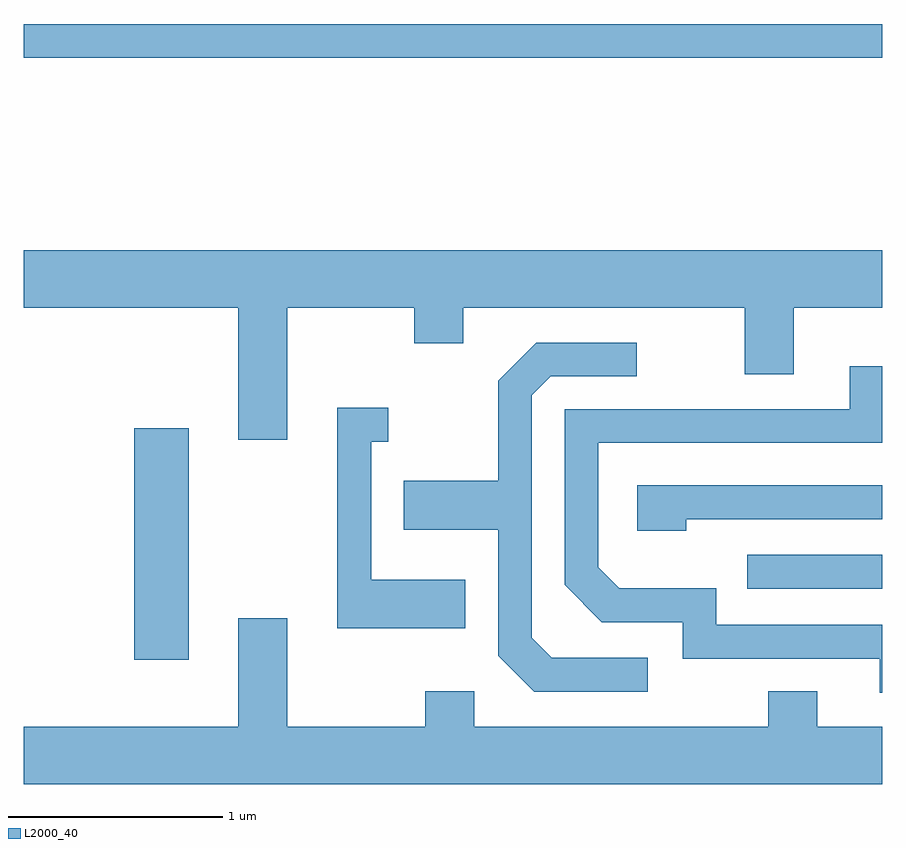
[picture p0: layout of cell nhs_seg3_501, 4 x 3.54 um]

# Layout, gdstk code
import gdstk
lib = gdstk.Library(unit=1e-6, precision=1e-09)
def R(c, l, rs):  # rectangles x0, y0, x1, y1
    for r in rs: c.add(gdstk.rectangle(r[:2], r[2:], *l))
def P(c, l, *ps):  # polygons
    for p in ps: c.add(gdstk.Polygon(p, *l))
L2000_40 = (2000, 40)

nhs_seg3_501 = lib.new_cell('nhs_seg3_501')
R(nhs_seg3_501, L2000_40, [(200.126,1166.556,200.379,1167.634), (202.983,1166.886,203.611,1167.044), (199.611,1169.361,203.611,1169.519)])
P(nhs_seg3_501, L2000_40, [(200.839,1168.196),(201.431,1168.196),(201.431,1168.031),(201.659,1168.031),(201.659,1168.196),(202.971,1168.196),(202.971,1167.886),(203.199,1167.886),(203.199,1168.196),(203.611,1168.196),(203.611,1168.464),(199.611,1168.464),(199.611,1168.196),(200.611,1168.196),(200.611,1167.581),(200.839,1167.581)],
  [(202.518,1166.564),(202.072,1166.564),(201.979,1166.657),(201.979,1167.789),(202.067,1167.876),(202.468,1167.876),(202.468,1168.034),(201.999,1168.034),(201.821,1167.857),(201.821,1167.389),(201.381,1167.389),(201.381,1167.161),(201.821,1167.161),(201.821,1166.574),(201.989,1166.406),(202.518,1166.406)],
  [(203.611,1166.719),(202.839,1166.719),(202.839,1166.889),(202.387,1166.889),(202.289,1166.987),(202.289,1167.566),(203.611,1167.566),(203.611,1167.923),(203.461,1167.923),(203.461,1167.724),(202.131,1167.724),(202.131,1166.904),(202.304,1166.731),(202.681,1166.731),(202.681,1166.561),(203.601,1166.561),(203.601,1166.401),(203.611,1166.401)],
  [(201.669,1166.929),(201.229,1166.929),(201.229,1167.571),(201.308,1167.571),(201.308,1167.729),(201.071,1167.729),(201.071,1166.701),(201.669,1166.701)],
  [(202.699,1167.211),(203.611,1167.211),(203.611,1167.369),(202.471,1167.369),(202.471,1167.156),(202.699,1167.156)],
  [(203.611,1166.244),(203.309,1166.244),(203.309,1166.409),(203.081,1166.409),(203.081,1166.244),(201.709,1166.244),(201.709,1166.409),(201.481,1166.409),(201.481,1166.244),(200.839,1166.244),(200.839,1166.749),(200.611,1166.749),(200.611,1166.244),(199.611,1166.244),(199.611,1165.976),(203.611,1165.976)])

lib.write_gds('nhs_seg3_501.gds')
